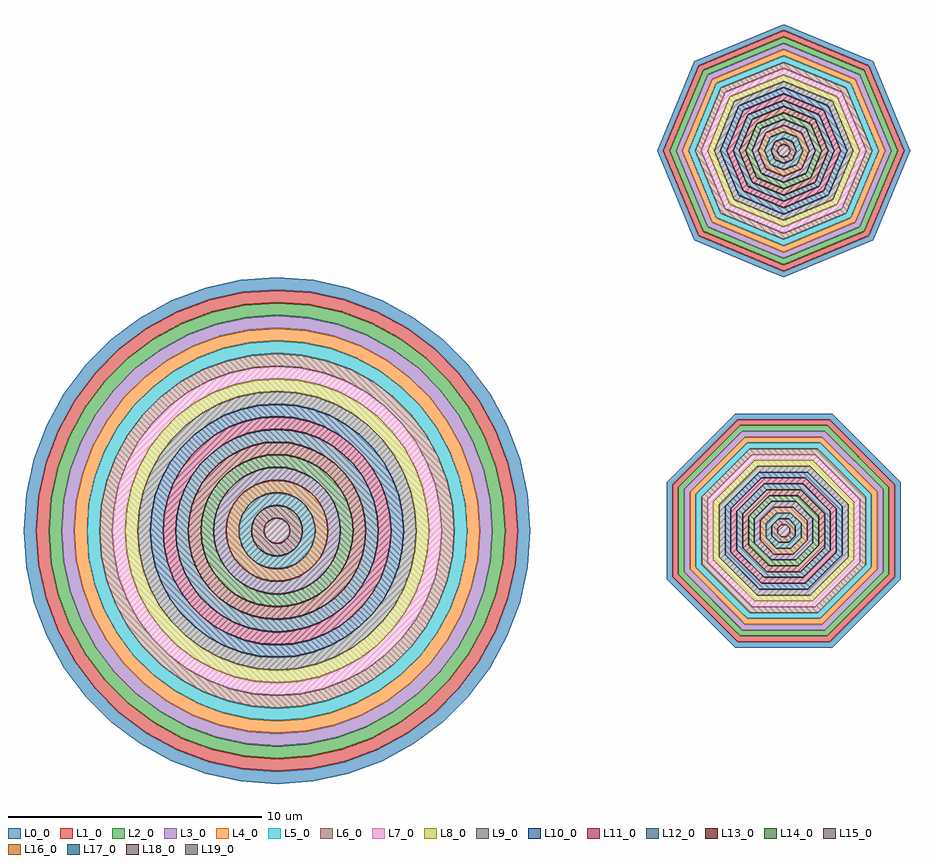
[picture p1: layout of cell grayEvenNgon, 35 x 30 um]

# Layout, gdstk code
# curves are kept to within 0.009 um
import gdstk
lib = gdstk.Library(unit=1e-6, precision=1e-09)
def P(c, l, *ps):  # polygons
    for p in ps: c.add(gdstk.Polygon(p, *l))
L0_0 = (0, 0)
L1_0 = (1, 0)
L2_0 = (2, 0)
L3_0 = (3, 0)
L4_0 = (4, 0)
L5_0 = (5, 0)
L6_0 = (6, 0)
L7_0 = (7, 0)
L8_0 = (8, 0)
L9_0 = (9, 0)
L10_0 = (10, 0)
L11_0 = (11, 0)
L12_0 = (12, 0)
L13_0 = (13, 0)
L14_0 = (14, 0)
L15_0 = (15, 0)
L16_0 = (16, 0)
L17_0 = (17, 0)
L18_0 = (18, 0)
L19_0 = (19, 0)

grayevenngon = lib.new_cell('grayEvenNgon')
P(grayevenngon, L0_0, [(0,-10),(-1.423,-9.898),(-2.817,-9.595),(-3.072,-9.5),(0,-9.5),(1.352,-9.403),(2.676,-9.115),(3.946,-8.642),(5.136,-7.992),(6.221,-7.18),(7.18,-6.221),(7.992,-5.136),(8.642,-3.946),(9.115,-2.676),(9.403,-1.352),(9.5,0),(9.403,1.352),(9.115,2.676),(8.642,3.946),(7.992,5.136),(7.18,6.221),(6.221,7.18),(5.136,7.992),(3.946,8.642),(2.676,9.115),(1.352,9.403),(0,9.5),(-1.352,9.403),(-2.676,9.115),(-3.946,8.642),(-5.136,7.992),(-6.221,7.18),(-7.18,6.221),(-7.992,5.136),(-8.642,3.946),(-9.115,2.676),(-9.403,1.352),(-9.5,0),(-9.403,-1.352),(-9.115,-2.676),(-8.642,-3.946),(-7.992,-5.136),(-7.18,-6.221),(-6.221,-7.18),(-5.136,-7.992),(-3.946,-8.642),(-2.676,-9.115),(-1.352,-9.403),(0,-9.5),(-3.072,-9.5),(-4.154,-9.096),(-5.406,-8.413),(-6.549,-7.557),(-7.557,-6.549),(-8.413,-5.406),(-9.096,-4.154),(-9.595,-2.817),(-9.898,-1.423),(-10,0),(-9.898,1.423),(-9.595,2.817),(-9.096,4.154),(-8.413,5.406),(-7.557,6.549),(-6.549,7.557),(-5.406,8.413),(-4.154,9.096),(-2.817,9.595),(-1.423,9.898),(0,10),(1.423,9.898),(2.817,9.595),(4.154,9.096),(5.406,8.413),(6.549,7.557),(7.557,6.549),(8.413,5.406),(9.096,4.154),(9.595,2.817),(9.898,1.423),(10,0),(9.898,-1.423),(9.595,-2.817),(9.096,-4.154),(8.413,-5.406),(7.557,-6.549),(6.549,-7.557),(5.406,-8.413),(4.154,-9.096),(2.817,-9.595),(1.423,-9.898)],
  [(20,10),(19.396,10.25),(20,10.25),(23.359,11.641),(24.75,15),(23.359,18.359),(20,19.75),(16.641,18.359),(15.25,15),(16.641,11.641),(20,10.25),(19.396,10.25),(16.464,11.464),(15,15),(16.464,18.536),(20,20),(23.536,18.536),(25,15),(23.536,11.464)],
  [(18.087,-4.619),(17.856,-4.388),(21.818,-4.388),(24.388,-1.818),(24.388,1.818),(21.818,4.388),(18.182,4.388),(15.612,1.818),(15.612,-1.818),(18.182,-4.388),(17.856,-4.388),(15.381,-1.913),(15.381,1.913),(18.087,4.619),(21.913,4.619),(24.619,1.913),(24.619,-1.913),(21.913,-4.619)])
P(grayevenngon, L1_0, [(0,-9.5),(-1.352,-9.403),(-2.676,-9.115),(-2.985,-9),(0,-9),(1.281,-8.908),(2.536,-8.635),(3.739,-8.187),(4.866,-7.571),(5.894,-6.802),(6.802,-5.894),(7.571,-4.866),(8.187,-3.739),(8.635,-2.536),(8.908,-1.281),(9,0),(8.908,1.281),(8.635,2.536),(8.187,3.739),(7.571,4.866),(6.802,5.894),(5.894,6.802),(4.866,7.571),(3.739,8.187),(2.536,8.635),(1.281,8.908),(0,9),(-1.281,8.908),(-2.536,8.635),(-3.739,8.187),(-4.866,7.571),(-5.894,6.802),(-6.802,5.894),(-7.571,4.866),(-8.187,3.739),(-8.635,2.536),(-8.908,1.281),(-9,0),(-8.908,-1.281),(-8.635,-2.536),(-8.187,-3.739),(-7.571,-4.866),(-6.802,-5.894),(-5.894,-6.802),(-4.866,-7.571),(-3.739,-8.187),(-2.536,-8.635),(-1.281,-8.908),(0,-9),(-2.985,-9),(-3.946,-8.642),(-5.136,-7.992),(-6.221,-7.18),(-7.18,-6.221),(-7.992,-5.136),(-8.642,-3.946),(-9.115,-2.676),(-9.403,-1.352),(-9.5,0),(-9.403,1.352),(-9.115,2.676),(-8.642,3.946),(-7.992,5.136),(-7.18,6.221),(-6.221,7.18),(-5.136,7.992),(-3.946,8.642),(-2.676,9.115),(-1.352,9.403),(0,9.5),(1.352,9.403),(2.676,9.115),(3.946,8.642),(5.136,7.992),(6.221,7.18),(7.18,6.221),(7.992,5.136),(8.642,3.946),(9.115,2.676),(9.403,1.352),(9.5,0),(9.403,-1.352),(9.115,-2.676),(8.642,-3.946),(7.992,-5.136),(7.18,-6.221),(6.221,-7.18),(5.136,-7.992),(3.946,-8.642),(2.676,-9.115),(1.352,-9.403)],
  [(20,10.25),(19.396,10.5),(20,10.5),(23.182,11.818),(24.5,15),(23.182,18.182),(20,19.5),(16.818,18.182),(15.5,15),(16.818,11.818),(20,10.5),(19.396,10.5),(16.641,11.641),(15.25,15),(16.641,18.359),(20,19.75),(23.359,18.359),(24.75,15),(23.359,11.641)],
  [(18.182,-4.388),(17.951,-4.157),(21.722,-4.157),(24.157,-1.722),(24.157,1.722),(21.722,4.157),(18.278,4.157),(15.843,1.722),(15.843,-1.722),(18.278,-4.157),(17.951,-4.157),(15.612,-1.818),(15.612,1.818),(18.182,4.388),(21.818,4.388),(24.388,1.818),(24.388,-1.818),(21.818,-4.388)])
P(grayevenngon, L2_0, [(0,-9),(-1.281,-8.908),(-2.536,-8.635),(-2.899,-8.5),(0,-8.5),(1.21,-8.413),(2.395,-8.156),(3.531,-7.732),(4.595,-7.151),(5.566,-6.424),(6.424,-5.566),(7.151,-4.595),(7.732,-3.531),(8.156,-2.395),(8.413,-1.21),(8.5,0),(8.413,1.21),(8.156,2.395),(7.732,3.531),(7.151,4.595),(6.424,5.566),(5.566,6.424),(4.595,7.151),(3.531,7.732),(2.395,8.156),(1.21,8.413),(0,8.5),(-1.21,8.413),(-2.395,8.156),(-3.531,7.732),(-4.595,7.151),(-5.566,6.424),(-6.424,5.566),(-7.151,4.595),(-7.732,3.531),(-8.156,2.395),(-8.413,1.21),(-8.5,0),(-8.413,-1.21),(-8.156,-2.395),(-7.732,-3.531),(-7.151,-4.595),(-6.424,-5.566),(-5.566,-6.424),(-4.595,-7.151),(-3.531,-7.732),(-2.395,-8.156),(-1.21,-8.413),(0,-8.5),(-2.899,-8.5),(-3.739,-8.187),(-4.866,-7.571),(-5.894,-6.802),(-6.802,-5.894),(-7.571,-4.866),(-8.187,-3.739),(-8.635,-2.536),(-8.908,-1.281),(-9,0),(-8.908,1.281),(-8.635,2.536),(-8.187,3.739),(-7.571,4.866),(-6.802,5.894),(-5.894,6.802),(-4.866,7.571),(-3.739,8.187),(-2.536,8.635),(-1.281,8.908),(0,9),(1.281,8.908),(2.536,8.635),(3.739,8.187),(4.866,7.571),(5.894,6.802),(6.802,5.894),(7.571,4.866),(8.187,3.739),(8.635,2.536),(8.908,1.281),(9,0),(8.908,-1.281),(8.635,-2.536),(8.187,-3.739),(7.571,-4.866),(6.802,-5.894),(5.894,-6.802),(4.866,-7.571),(3.739,-8.187),(2.536,-8.635),(1.281,-8.908)],
  [(20,10.5),(19.396,10.75),(20,10.75),(23.005,11.995),(24.25,15),(23.005,18.005),(20,19.25),(16.995,18.005),(15.75,15),(16.995,11.995),(20,10.75),(19.396,10.75),(16.818,11.818),(15.5,15),(16.818,18.182),(20,19.5),(23.182,18.182),(24.5,15),(23.182,11.818)],
  [(18.278,-4.157),(18.047,-3.926),(21.626,-3.926),(23.926,-1.626),(23.926,1.626),(21.626,3.926),(18.374,3.926),(16.074,1.626),(16.074,-1.626),(18.374,-3.926),(18.047,-3.926),(15.843,-1.722),(15.843,1.722),(18.278,4.157),(21.722,4.157),(24.157,1.722),(24.157,-1.722),(21.722,-4.157)])
P(grayevenngon, L3_0, [(0,-8.5),(-1.21,-8.413),(-2.395,-8.156),(-2.812,-8),(0,-8),(1.139,-7.919),(2.254,-7.676),(3.323,-7.277),(4.325,-6.73),(5.239,-6.046),(6.046,-5.239),(6.73,-4.325),(7.277,-3.323),(7.676,-2.254),(7.919,-1.139),(8,0),(7.919,1.139),(7.676,2.254),(7.277,3.323),(6.73,4.325),(6.046,5.239),(5.239,6.046),(4.325,6.73),(3.323,7.277),(2.254,7.676),(1.139,7.919),(0,8),(-1.139,7.919),(-2.254,7.676),(-3.323,7.277),(-4.325,6.73),(-5.239,6.046),(-6.046,5.239),(-6.73,4.325),(-7.277,3.323),(-7.676,2.254),(-7.919,1.139),(-8,0),(-7.919,-1.139),(-7.676,-2.254),(-7.277,-3.323),(-6.73,-4.325),(-6.046,-5.239),(-5.239,-6.046),(-4.325,-6.73),(-3.323,-7.277),(-2.254,-7.676),(-1.139,-7.919),(0,-8),(-2.812,-8),(-3.531,-7.732),(-4.595,-7.151),(-5.566,-6.424),(-6.424,-5.566),(-7.151,-4.595),(-7.732,-3.531),(-8.156,-2.395),(-8.413,-1.21),(-8.5,0),(-8.413,1.21),(-8.156,2.395),(-7.732,3.531),(-7.151,4.595),(-6.424,5.566),(-5.566,6.424),(-4.595,7.151),(-3.531,7.732),(-2.395,8.156),(-1.21,8.413),(0,8.5),(1.21,8.413),(2.395,8.156),(3.531,7.732),(4.595,7.151),(5.566,6.424),(6.424,5.566),(7.151,4.595),(7.732,3.531),(8.156,2.395),(8.413,1.21),(8.5,0),(8.413,-1.21),(8.156,-2.395),(7.732,-3.531),(7.151,-4.595),(6.424,-5.566),(5.566,-6.424),(4.595,-7.151),(3.531,-7.732),(2.395,-8.156),(1.21,-8.413)],
  [(20,10.75),(19.396,11),(20,11),(22.828,12.172),(24,15),(22.828,17.828),(20,19),(17.172,17.828),(16,15),(17.172,12.172),(20,11),(19.396,11),(16.995,11.995),(15.75,15),(16.995,18.005),(20,19.25),(23.005,18.005),(24.25,15),(23.005,11.995)],
  [(18.374,-3.926),(18.143,-3.696),(21.531,-3.696),(23.696,-1.531),(23.696,1.531),(21.531,3.696),(18.469,3.696),(16.304,1.531),(16.304,-1.531),(18.469,-3.696),(18.143,-3.696),(16.074,-1.626),(16.074,1.626),(18.374,3.926),(21.626,3.926),(23.926,1.626),(23.926,-1.626),(21.626,-3.926)])
P(grayevenngon, L4_0, [(0,-8),(-1.139,-7.919),(-2.254,-7.676),(-2.726,-7.5),(0,-7.5),(1.067,-7.424),(2.113,-7.196),(3.116,-6.822),(4.055,-6.309),(4.911,-5.668),(5.668,-4.911),(6.309,-4.055),(6.822,-3.116),(7.196,-2.113),(7.424,-1.067),(7.5,0),(7.424,1.067),(7.196,2.113),(6.822,3.116),(6.309,4.055),(5.668,4.911),(4.911,5.668),(4.055,6.309),(3.116,6.822),(2.113,7.196),(1.067,7.424),(0,7.5),(-1.067,7.424),(-2.113,7.196),(-3.116,6.822),(-4.055,6.309),(-4.911,5.668),(-5.668,4.911),(-6.309,4.055),(-6.822,3.116),(-7.196,2.113),(-7.424,1.067),(-7.5,0),(-7.424,-1.067),(-7.196,-2.113),(-6.822,-3.116),(-6.309,-4.055),(-5.668,-4.911),(-4.911,-5.668),(-4.055,-6.309),(-3.116,-6.822),(-2.113,-7.196),(-1.067,-7.424),(0,-7.5),(-2.726,-7.5),(-3.323,-7.277),(-4.325,-6.73),(-5.239,-6.046),(-6.046,-5.239),(-6.73,-4.325),(-7.277,-3.323),(-7.676,-2.254),(-7.919,-1.139),(-8,0),(-7.919,1.139),(-7.676,2.254),(-7.277,3.323),(-6.73,4.325),(-6.046,5.239),(-5.239,6.046),(-4.325,6.73),(-3.323,7.277),(-2.254,7.676),(-1.139,7.919),(0,8),(1.139,7.919),(2.254,7.676),(3.323,7.277),(4.325,6.73),(5.239,6.046),(6.046,5.239),(6.73,4.325),(7.277,3.323),(7.676,2.254),(7.919,1.139),(8,0),(7.919,-1.139),(7.676,-2.254),(7.277,-3.323),(6.73,-4.325),(6.046,-5.239),(5.239,-6.046),(4.325,-6.73),(3.323,-7.277),(2.254,-7.676),(1.139,-7.919)],
  [(20,11),(19.396,11.25),(20,11.25),(22.652,12.348),(23.75,15),(22.652,17.652),(20,18.75),(17.348,17.652),(16.25,15),(17.348,12.348),(20,11.25),(19.396,11.25),(17.172,12.172),(16,15),(17.172,17.828),(20,19),(22.828,17.828),(24,15),(22.828,12.172)],
  [(18.469,-3.696),(18.238,-3.465),(21.435,-3.465),(23.465,-1.435),(23.465,1.435),(21.435,3.465),(18.565,3.465),(16.535,1.435),(16.535,-1.435),(18.565,-3.465),(21.435,-3.465),(18.238,-3.465),(16.304,-1.531),(16.304,1.531),(18.469,3.696),(21.531,3.696),(23.696,1.531),(23.696,-1.531),(21.531,-3.696)])
P(grayevenngon, L5_0, [(0,-7.5),(-1.067,-7.424),(-2.113,-7.196),(-2.639,-7),(0,-7),(0.996,-6.929),(1.972,-6.716),(2.908,-6.367),(3.784,-5.889),(4.584,-5.29),(5.29,-4.584),(5.889,-3.784),(6.367,-2.908),(6.716,-1.972),(6.929,-0.996),(7,0),(6.929,0.996),(6.716,1.972),(6.367,2.908),(5.889,3.784),(5.29,4.584),(4.584,5.29),(3.784,5.889),(2.908,6.367),(1.972,6.716),(0.996,6.929),(0,7),(-0.996,6.929),(-1.972,6.716),(-2.908,6.367),(-3.784,5.889),(-4.584,5.29),(-5.29,4.584),(-5.889,3.784),(-6.367,2.908),(-6.716,1.972),(-6.929,0.996),(-7,0),(-6.929,-0.996),(-6.716,-1.972),(-6.367,-2.908),(-5.889,-3.784),(-5.29,-4.584),(-4.584,-5.29),(-3.784,-5.889),(-2.908,-6.367),(-1.972,-6.716),(-0.996,-6.929),(0,-7),(-2.639,-7),(-3.116,-6.822),(-4.055,-6.309),(-4.911,-5.668),(-5.668,-4.911),(-6.309,-4.055),(-6.822,-3.116),(-7.196,-2.113),(-7.424,-1.067),(-7.5,0),(-7.424,1.067),(-7.196,2.113),(-6.822,3.116),(-6.309,4.055),(-5.668,4.911),(-4.911,5.668),(-4.055,6.309),(-3.116,6.822),(-2.113,7.196),(-1.067,7.424),(0,7.5),(1.067,7.424),(2.113,7.196),(3.116,6.822),(4.055,6.309),(4.911,5.668),(5.668,4.911),(6.309,4.055),(6.822,3.116),(7.196,2.113),(7.424,1.067),(7.5,0),(7.424,-1.067),(7.196,-2.113),(6.822,-3.116),(6.309,-4.055),(5.668,-4.911),(4.911,-5.668),(4.055,-6.309),(3.116,-6.822),(2.113,-7.196),(1.067,-7.424)],
  [(20,11.25),(19.396,11.5),(20,11.5),(22.475,12.525),(23.5,15),(22.475,17.475),(20,18.5),(17.525,17.475),(16.5,15),(17.525,12.525),(20,11.5),(19.396,11.5),(17.348,12.348),(16.25,15),(17.348,17.652),(20,18.75),(22.652,17.652),(23.75,15),(22.652,12.348)],
  [(21.435,-3.465),(18.565,-3.465),(18.334,-3.234),(21.339,-3.234),(23.234,-1.339),(23.234,1.339),(21.339,3.234),(18.661,3.234),(16.766,1.339),(16.766,-1.339),(18.661,-3.234),(18.334,-3.234),(16.535,-1.435),(16.535,1.435),(18.565,3.465),(21.435,3.465),(23.465,1.435),(23.465,-1.435)])
P(grayevenngon, L6_0, [(0,-7),(-0.996,-6.929),(-1.972,-6.716),(-2.552,-6.5),(0,-6.5),(0.925,-6.434),(1.831,-6.237),(2.7,-5.913),(3.514,-5.468),(4.257,-4.912),(4.912,-4.257),(5.468,-3.514),(5.913,-2.7),(6.237,-1.831),(6.434,-0.925),(6.5,0),(6.434,0.925),(6.237,1.831),(5.913,2.7),(5.468,3.514),(4.912,4.257),(4.257,4.912),(3.514,5.468),(2.7,5.913),(1.831,6.237),(0.925,6.434),(0,6.5),(-0.925,6.434),(-1.831,6.237),(-2.7,5.913),(-3.514,5.468),(-4.257,4.912),(-4.912,4.257),(-5.468,3.514),(-5.913,2.7),(-6.237,1.831),(-6.434,0.925),(-6.5,0),(-6.434,-0.925),(-6.237,-1.831),(-5.913,-2.7),(-5.468,-3.514),(-4.912,-4.257),(-4.257,-4.912),(-3.514,-5.468),(-2.7,-5.913),(-1.831,-6.237),(-0.925,-6.434),(0,-6.5),(-2.552,-6.5),(-2.908,-6.367),(-3.784,-5.889),(-4.584,-5.29),(-5.29,-4.584),(-5.889,-3.784),(-6.367,-2.908),(-6.716,-1.972),(-6.929,-0.996),(-7,0),(-6.929,0.996),(-6.716,1.972),(-6.367,2.908),(-5.889,3.784),(-5.29,4.584),(-4.584,5.29),(-3.784,5.889),(-2.908,6.367),(-1.972,6.716),(-0.996,6.929),(0,7),(0.996,6.929),(1.972,6.716),(2.908,6.367),(3.784,5.889),(4.584,5.29),(5.29,4.584),(5.889,3.784),(6.367,2.908),(6.716,1.972),(6.929,0.996),(7,0),(6.929,-0.996),(6.716,-1.972),(6.367,-2.908),(5.889,-3.784),(5.29,-4.584),(4.584,-5.29),(3.784,-5.889),(2.908,-6.367),(1.972,-6.716),(0.996,-6.929)],
  [(20,11.5),(19.396,11.75),(20,11.75),(22.298,12.702),(23.25,15),(22.298,17.298),(20,18.25),(17.702,17.298),(16.75,15),(17.702,12.702),(20,11.75),(19.396,11.75),(17.525,12.525),(16.5,15),(17.525,17.475),(20,18.5),(22.475,17.475),(23.5,15),(22.475,12.525)],
  [(18.661,-3.234),(18.43,-3.003),(21.244,-3.003),(23.003,-1.244),(23.003,1.244),(21.244,3.003),(18.756,3.003),(16.997,1.244),(16.997,-1.244),(18.756,-3.003),(18.43,-3.003),(16.766,-1.339),(16.766,1.339),(18.661,3.234),(21.339,3.234),(23.234,1.339),(23.234,-1.339),(21.339,-3.234)])
P(grayevenngon, L7_0, [(0,-6.5),(-0.925,-6.434),(-1.831,-6.237),(-2.466,-6),(0,-6),(0.854,-5.939),(1.69,-5.757),(2.492,-5.458),(3.244,-5.048),(3.929,-4.534),(4.534,-3.929),(5.048,-3.244),(5.458,-2.492),(5.757,-1.69),(5.939,-0.854),(6,0),(5.939,0.854),(5.757,1.69),(5.458,2.492),(5.048,3.244),(4.534,3.929),(3.929,4.534),(3.244,5.048),(2.492,5.458),(1.69,5.757),(0.854,5.939),(0,6),(-0.854,5.939),(-1.69,5.757),(-2.492,5.458),(-3.244,5.048),(-3.929,4.534),(-4.534,3.929),(-5.048,3.244),(-5.458,2.492),(-5.757,1.69),(-5.939,0.854),(-6,0),(-5.939,-0.854),(-5.757,-1.69),(-5.458,-2.492),(-5.048,-3.244),(-4.534,-3.929),(-3.929,-4.534),(-3.244,-5.048),(-2.492,-5.458),(-1.69,-5.757),(-0.854,-5.939),(0,-6),(-2.466,-6),(-2.7,-5.913),(-3.514,-5.468),(-4.257,-4.912),(-4.912,-4.257),(-5.468,-3.514),(-5.913,-2.7),(-6.237,-1.831),(-6.434,-0.925),(-6.5,0),(-6.434,0.925),(-6.237,1.831),(-5.913,2.7),(-5.468,3.514),(-4.912,4.257),(-4.257,4.912),(-3.514,5.468),(-2.7,5.913),(-1.831,6.237),(-0.925,6.434),(0,6.5),(0.925,6.434),(1.831,6.237),(2.7,5.913),(3.514,5.468),(4.257,4.912),(4.912,4.257),(5.468,3.514),(5.913,2.7),(6.237,1.831),(6.434,0.925),(6.5,0),(6.434,-0.925),(6.237,-1.831),(5.913,-2.7),(5.468,-3.514),(4.912,-4.257),(4.257,-4.912),(3.514,-5.468),(2.7,-5.913),(1.831,-6.237),(0.925,-6.434)],
  [(20,11.75),(19.396,12),(20,12),(22.121,12.879),(23,15),(22.121,17.121),(20,18),(17.879,17.121),(17,15),(17.879,12.879),(20,12),(19.396,12),(17.702,12.702),(16.75,15),(17.702,17.298),(20,18.25),(22.298,17.298),(23.25,15),(22.298,12.702)],
  [(18.756,-3.003),(18.525,-2.772),(21.148,-2.772),(22.772,-1.148),(22.772,1.148),(21.148,2.772),(18.852,2.772),(17.228,1.148),(17.228,-1.148),(18.852,-2.772),(18.525,-2.772),(16.997,-1.244),(16.997,1.244),(18.756,3.003),(21.244,3.003),(23.003,1.244),(23.003,-1.244),(21.244,-3.003)])
P(grayevenngon, L8_0, [(0,-6),(-0.854,-5.939),(-1.69,-5.757),(-2.379,-5.5),(0,-5.5),(0.783,-5.444),(1.55,-5.277),(2.285,-5.003),(2.974,-4.627),(3.602,-4.157),(4.157,-3.602),(4.627,-2.974),(5.003,-2.285),(5.277,-1.55),(5.444,-0.783),(5.5,0),(5.444,0.783),(5.277,1.55),(5.003,2.285),(4.627,2.974),(4.157,3.602),(3.602,4.157),(2.974,4.627),(2.285,5.003),(1.55,5.277),(0.783,5.444),(0,5.5),(-0.783,5.444),(-1.55,5.277),(-2.285,5.003),(-2.974,4.627),(-3.602,4.157),(-4.157,3.602),(-4.627,2.974),(-5.003,2.285),(-5.277,1.55),(-5.444,0.783),(-5.5,0),(-5.444,-0.783),(-5.277,-1.55),(-5.003,-2.285),(-4.627,-2.974),(-4.157,-3.602),(-3.602,-4.157),(-2.974,-4.627),(-2.285,-5.003),(-1.55,-5.277),(-0.783,-5.444),(0,-5.5),(-2.379,-5.5),(-2.492,-5.458),(-3.244,-5.048),(-3.929,-4.534),(-4.534,-3.929),(-5.048,-3.244),(-5.458,-2.492),(-5.757,-1.69),(-5.939,-0.854),(-6,0),(-5.939,0.854),(-5.757,1.69),(-5.458,2.492),(-5.048,3.244),(-4.534,3.929),(-3.929,4.534),(-3.244,5.048),(-2.492,5.458),(-1.69,5.757),(-0.854,5.939),(0,6),(0.854,5.939),(1.69,5.757),(2.492,5.458),(3.244,5.048),(3.929,4.534),(4.534,3.929),(5.048,3.244),(5.458,2.492),(5.757,1.69),(5.939,0.854),(6,0),(5.939,-0.854),(5.757,-1.69),(5.458,-2.492),(5.048,-3.244),(4.534,-3.929),(3.929,-4.534),(3.244,-5.048),(2.492,-5.458),(1.69,-5.757),(0.854,-5.939)],
  [(20,12),(19.396,12.25),(20,12.25),(21.945,13.055),(22.75,15),(21.945,16.945),(20,17.75),(18.055,16.945),(17.25,15),(18.055,13.055),(20,12.25),(19.396,12.25),(17.879,12.879),(17,15),(17.879,17.121),(20,18),(22.121,17.121),(23,15),(22.121,12.879)],
  [(18.852,-2.772),(18.621,-2.541),(21.052,-2.541),(22.541,-1.052),(22.541,1.052),(21.052,2.541),(18.948,2.541),(17.459,1.052),(17.459,-1.052),(18.948,-2.541),(18.621,-2.541),(17.228,-1.148),(17.228,1.148),(18.852,2.772),(21.148,2.772),(22.772,1.148),(22.772,-1.148),(21.148,-2.772)])
P(grayevenngon, L9_0, [(0,-5.5),(-0.783,-5.444),(-1.55,-5.277),(-2.29,-5),(0,-5),(0.712,-4.949),(1.409,-4.797),(2.077,-4.548),(2.703,-4.206),(3.274,-3.779),(3.779,-3.274),(4.206,-2.703),(4.548,-2.077),(4.797,-1.409),(4.949,-0.712),(5,0),(4.949,0.712),(4.797,1.409),(4.548,2.077),(4.206,2.703),(3.779,3.274),(3.274,3.779),(2.703,4.206),(2.077,4.548),(1.409,4.797),(0.712,4.949),(0,5),(-0.712,4.949),(-1.409,4.797),(-2.077,4.548),(-2.703,4.206),(-3.274,3.779),(-3.779,3.274),(-4.206,2.703),(-4.548,2.077),(-4.797,1.409),(-4.949,0.712),(-5,0),(-4.949,-0.712),(-4.797,-1.409),(-4.548,-2.077),(-4.206,-2.703),(-3.779,-3.274),(-3.274,-3.779),(-2.703,-4.206),(-2.077,-4.548),(-1.409,-4.797),(-0.712,-4.949),(0,-5),(-2.29,-5),(-2.974,-4.627),(-3.602,-4.157),(-4.157,-3.602),(-4.627,-2.974),(-5.003,-2.285),(-5.277,-1.55),(-5.444,-0.783),(-5.5,0),(-5.444,0.783),(-5.277,1.55),(-5.003,2.285),(-4.627,2.974),(-4.157,3.602),(-3.602,4.157),(-2.974,4.627),(-2.285,5.003),(-1.55,5.277),(-0.783,5.444),(0,5.5),(0.783,5.444),(1.55,5.277),(2.285,5.003),(2.974,4.627),(3.602,4.157),(4.157,3.602),(4.627,2.974),(5.003,2.285),(5.277,1.55),(5.444,0.783),(5.5,0),(5.444,-0.783),(5.277,-1.55),(5.003,-2.285),(4.627,-2.974),(4.157,-3.602),(3.602,-4.157),(2.974,-4.627),(2.285,-5.003),(1.55,-5.277),(0.783,-5.444)],
  [(20,12.25),(19.396,12.5),(20,12.5),(21.768,13.232),(22.5,15),(21.768,16.768),(20,17.5),(18.232,16.768),(17.5,15),(18.232,13.232),(20,12.5),(19.396,12.5),(18.055,13.055),(17.25,15),(18.055,16.945),(20,17.75),(21.945,16.945),(22.75,15),(21.945,13.055)],
  [(18.948,-2.541),(18.717,-2.31),(20.957,-2.31),(22.31,-0.957),(22.31,0.957),(20.957,2.31),(19.043,2.31),(17.69,0.957),(17.69,-0.957),(19.043,-2.31),(18.717,-2.31),(17.459,-1.052),(17.459,1.052),(18.948,2.541),(21.052,2.541),(22.541,1.052),(22.541,-1.052),(21.052,-2.541)])
P(grayevenngon, L10_0, [(0,-5),(-0.712,-4.949),(-1.409,-4.797),(-2.077,-4.548),(-2.165,-4.5),(0,-4.5),(0.64,-4.454),(1.268,-4.318),(1.869,-4.093),(2.433,-3.786),(2.947,-3.401),(3.401,-2.947),(3.786,-2.433),(4.093,-1.869),(4.318,-1.268),(4.454,-0.64),(4.5,0),(4.454,0.64),(4.318,1.268),(4.093,1.869),(3.786,2.433),(3.401,2.947),(2.947,3.401),(2.433,3.786),(1.869,4.093),(1.268,4.318),(0.64,4.454),(0,4.5),(-0.64,4.454),(-1.268,4.318),(-1.869,4.093),(-2.433,3.786),(-2.947,3.401),(-3.401,2.947),(-3.786,2.433),(-4.093,1.869),(-4.318,1.268),(-4.454,0.64),(-4.5,0),(-4.454,-0.64),(-4.318,-1.268),(-4.093,-1.869),(-3.786,-2.433),(-3.401,-2.947),(-2.947,-3.401),(-2.433,-3.786),(-1.869,-4.093),(-1.268,-4.318),(-0.64,-4.454),(0,-4.5),(-2.165,-4.5),(-2.703,-4.206),(-3.274,-3.779),(-3.779,-3.274),(-4.206,-2.703),(-4.548,-2.077),(-4.797,-1.409),(-4.949,-0.712),(-5,0),(-4.949,0.712),(-4.797,1.409),(-4.548,2.077),(-4.206,2.703),(-3.779,3.274),(-3.274,3.779),(-2.703,4.206),(-2.077,4.548),(-1.409,4.797),(-0.712,4.949),(0,5),(0.712,4.949),(1.409,4.797),(2.077,4.548),(2.703,4.206),(3.274,3.779),(3.779,3.274),(4.206,2.703),(4.548,2.077),(4.797,1.409),(4.949,0.712),(5,0),(4.949,-0.712),(4.797,-1.409),(4.548,-2.077),(4.206,-2.703),(3.779,-3.274),(3.274,-3.779),(2.703,-4.206),(2.077,-4.548),(1.409,-4.797),(0.712,-4.949)],
  [(20,12.5),(19.396,12.75),(20,12.75),(21.591,13.409),(22.25,15),(21.591,16.591),(20,17.25),(18.409,16.591),(17.75,15),(18.409,13.409),(20,12.75),(19.396,12.75),(18.232,13.232),(17.5,15),(18.232,16.768),(20,17.5),(21.768,16.768),(22.5,15),(21.768,13.232)],
  [(19.043,-2.31),(18.812,-2.079),(20.861,-2.079),(22.079,-0.861),(22.079,0.861),(20.861,2.079),(19.139,2.079),(17.921,0.861),(17.921,-0.861),(19.139,-2.079),(18.812,-2.079),(17.69,-0.957),(17.69,0.957),(19.043,2.31),(20.957,2.31),(22.31,0.957),(22.31,-0.957),(20.957,-2.31)])
P(grayevenngon, L11_0, [(0,-4.5),(-0.64,-4.454),(-1.268,-4.318),(-1.869,-4.093),(-2.04,-4),(0,-4),(0.569,-3.959),(1.127,-3.838),(1.662,-3.639),(2.163,-3.365),(2.619,-3.023),(3.023,-2.619),(3.365,-2.163),(3.639,-1.662),(3.838,-1.127),(3.959,-0.569),(4,0),(3.959,0.569),(3.838,1.127),(3.639,1.662),(3.365,2.163),(3.023,2.619),(2.619,3.023),(2.163,3.365),(1.662,3.639),(1.127,3.838),(0.569,3.959),(0,4),(-0.569,3.959),(-1.127,3.838),(-1.662,3.639),(-2.163,3.365),(-2.619,3.023),(-3.023,2.619),(-3.365,2.163),(-3.639,1.662),(-3.838,1.127),(-3.959,0.569),(-4,0),(-3.959,-0.569),(-3.838,-1.127),(-3.639,-1.662),(-3.365,-2.163),(-3.023,-2.619),(-2.619,-3.023),(-2.163,-3.365),(-1.662,-3.639),(-1.127,-3.838),(-0.569,-3.959),(0,-4),(-2.04,-4),(-2.433,-3.786),(-2.947,-3.401),(-3.401,-2.947),(-3.786,-2.433),(-4.093,-1.869),(-4.318,-1.268),(-4.454,-0.64),(-4.5,0),(-4.454,0.64),(-4.318,1.268),(-4.093,1.869),(-3.786,2.433),(-3.401,2.947),(-2.947,3.401),(-2.433,3.786),(-1.869,4.093),(-1.268,4.318),(-0.64,4.454),(0,4.5),(0.64,4.454),(1.268,4.318),(1.869,4.093),(2.433,3.786),(2.947,3.401),(3.401,2.947),(3.786,2.433),(4.093,1.869),(4.318,1.268),(4.454,0.64),(4.5,0),(4.454,-0.64),(4.318,-1.268),(4.093,-1.869),(3.786,-2.433),(3.401,-2.947),(2.947,-3.401),(2.433,-3.786),(1.869,-4.093),(1.268,-4.318),(0.64,-4.454)],
  [(20,12.75),(19.396,13),(20,13),(21.414,13.586),(22,15),(21.414,16.414),(20,17),(18.586,16.414),(18,15),(18.586,13.586),(20,13),(19.396,13),(18.409,13.409),(17.75,15),(18.409,16.591),(20,17.25),(21.591,16.591),(22.25,15),(21.591,13.409)],
  [(19.139,-2.079),(18.908,-1.848),(20.765,-1.848),(21.848,-0.765),(21.848,0.765),(20.765,1.848),(19.235,1.848),(18.152,0.765),(18.152,-0.765),(19.235,-1.848),(18.908,-1.848),(17.921,-0.861),(17.921,0.861),(19.139,2.079),(20.861,2.079),(22.079,0.861),(22.079,-0.861),(20.861,-2.079)])
P(grayevenngon, L12_0, [(0,-4),(-0.569,-3.959),(-1.127,-3.838),(-1.662,-3.639),(-1.915,-3.5),(0,-3.5),(0.498,-3.464),(0.986,-3.358),(1.454,-3.184),(1.892,-2.944),(2.292,-2.645),(2.645,-2.292),(2.944,-1.892),(3.184,-1.454),(3.358,-0.986),(3.464,-0.498),(3.5,0),(3.464,0.498),(3.358,0.986),(3.184,1.454),(2.944,1.892),(2.645,2.292),(2.292,2.645),(1.892,2.944),(1.454,3.184),(0.986,3.358),(0.498,3.464),(0,3.5),(-0.498,3.464),(-0.986,3.358),(-1.454,3.184),(-1.892,2.944),(-2.292,2.645),(-2.645,2.292),(-2.944,1.892),(-3.184,1.454),(-3.358,0.986),(-3.464,0.498),(-3.5,0),(-3.464,-0.498),(-3.358,-0.986),(-3.184,-1.454),(-2.944,-1.892),(-2.645,-2.292),(-2.292,-2.645),(-1.892,-2.944),(-1.454,-3.184),(-0.986,-3.358),(-0.498,-3.464),(0,-3.5),(-1.915,-3.5),(-2.163,-3.365),(-2.619,-3.023),(-3.023,-2.619),(-3.365,-2.163),(-3.639,-1.662),(-3.838,-1.127),(-3.959,-0.569),(-4,0),(-3.959,0.569),(-3.838,1.127),(-3.639,1.662),(-3.365,2.163),(-3.023,2.619),(-2.619,3.023),(-2.163,3.365),(-1.662,3.639),(-1.127,3.838),(-0.569,3.959),(0,4),(0.569,3.959),(1.127,3.838),(1.662,3.639),(2.163,3.365),(2.619,3.023),(3.023,2.619),(3.365,2.163),(3.639,1.662),(3.838,1.127),(3.959,0.569),(4,0),(3.959,-0.569),(3.838,-1.127),(3.639,-1.662),(3.365,-2.163),(3.023,-2.619),(2.619,-3.023),(2.163,-3.365),(1.662,-3.639),(1.127,-3.838),(0.569,-3.959)],
  [(20,13),(19.396,13.25),(20,13.25),(21.237,13.763),(21.75,15),(21.237,16.237),(20,16.75),(18.763,16.237),(18.25,15),(18.763,13.763),(20,13.25),(19.396,13.25),(18.586,13.586),(18,15),(18.586,16.414),(20,17),(21.414,16.414),(22,15),(21.414,13.586)],
  [(19.235,-1.848),(19.004,-1.617),(20.67,-1.617),(21.617,-0.67),(21.617,0.67),(20.67,1.617),(19.33,1.617),(18.383,0.67),(18.383,-0.67),(19.33,-1.617),(19.004,-1.617),(18.152,-0.765),(18.152,0.765),(19.235,1.848),(20.765,1.848),(21.848,0.765),(21.848,-0.765),(20.765,-1.848)])
P(grayevenngon, L13_0, [(0,-3.5),(-0.498,-3.464),(-0.986,-3.358),(-1.454,-3.184),(-1.79,-3),(0,-3),(0.427,-2.969),(0.845,-2.878),(1.246,-2.729),(1.622,-2.524),(1.965,-2.267),(2.267,-1.965),(2.524,-1.622),(2.729,-1.246),(2.878,-0.845),(2.969,-0.427),(3,0),(2.969,0.427),(2.878,0.845),(2.729,1.246),(2.524,1.622),(2.267,1.965),(1.965,2.267),(1.622,2.524),(1.246,2.729),(0.845,2.878),(0.427,2.969),(0,3),(-0.427,2.969),(-0.845,2.878),(-1.246,2.729),(-1.622,2.524),(-1.965,2.267),(-2.267,1.965),(-2.524,1.622),(-2.729,1.246),(-2.878,0.845),(-2.969,0.427),(-3,0),(-2.969,-0.427),(-2.878,-0.845),(-2.729,-1.246),(-2.524,-1.622),(-2.267,-1.965),(-1.965,-2.267),(-1.622,-2.524),(-1.246,-2.729),(-0.845,-2.878),(-0.427,-2.969),(0,-3),(-1.79,-3),(-1.892,-2.944),(-2.292,-2.645),(-2.645,-2.292),(-2.944,-1.892),(-3.184,-1.454),(-3.358,-0.986),(-3.464,-0.498),(-3.5,0),(-3.464,0.498),(-3.358,0.986),(-3.184,1.454),(-2.944,1.892),(-2.645,2.292),(-2.292,2.645),(-1.892,2.944),(-1.454,3.184),(-0.986,3.358),(-0.498,3.464),(0,3.5),(0.498,3.464),(0.986,3.358),(1.454,3.184),(1.892,2.944),(2.292,2.645),(2.645,2.292),(2.944,1.892),(3.184,1.454),(3.358,0.986),(3.464,0.498),(3.5,0),(3.464,-0.498),(3.358,-0.986),(3.184,-1.454),(2.944,-1.892),(2.645,-2.292),(2.292,-2.645),(1.892,-2.944),(1.454,-3.184),(0.986,-3.358),(0.498,-3.464)],
  [(20,13.25),(19.396,13.5),(20,13.5),(21.061,13.939),(21.5,15),(21.061,16.061),(20,16.5),(18.939,16.061),(18.5,15),(18.939,13.939),(20,13.5),(19.396,13.5),(18.763,13.763),(18.25,15),(18.763,16.237),(20,16.75),(21.237,16.237),(21.75,15),(21.237,13.763)],
  [(19.33,-1.617),(19.099,-1.386),(20.574,-1.386),(21.386,-0.574),(21.386,0.574),(20.574,1.386),(19.426,1.386),(18.614,0.574),(18.614,-0.574),(19.426,-1.386),(19.099,-1.386),(18.383,-0.67),(18.383,0.67),(19.33,1.617),(20.67,1.617),(21.617,0.67),(21.617,-0.67),(20.67,-1.617)])
P(grayevenngon, L14_0, [(0,-3),(-0.427,-2.969),(-0.845,-2.878),(-1.246,-2.729),(-1.654,-2.5),(0,-2.5),(0.356,-2.475),(0.704,-2.399),(1.039,-2.274),(1.352,-2.103),(1.637,-1.889),(1.889,-1.637),(2.103,-1.352),(2.274,-1.039),(2.399,-0.704),(2.475,-0.356),(2.5,0),(2.475,0.356),(2.399,0.704),(2.274,1.039),(2.103,1.352),(1.889,1.637),(1.637,1.889),(1.352,2.103),(1.039,2.274),(0.704,2.399),(0.356,2.475),(0,2.5),(-0.356,2.475),(-0.704,2.399),(-1.039,2.274),(-1.352,2.103),(-1.637,1.889),(-1.889,1.637),(-2.103,1.352),(-2.274,1.039),(-2.399,0.704),(-2.475,0.356),(-2.5,0),(-2.475,-0.356),(-2.399,-0.704),(-2.274,-1.039),(-2.103,-1.352),(-1.889,-1.637),(-1.637,-1.889),(-1.352,-2.103),(-1.039,-2.274),(-0.704,-2.399),(-0.356,-2.475),(0,-2.5),(-1.654,-2.5),(-1.965,-2.267),(-2.267,-1.965),(-2.524,-1.622),(-2.729,-1.246),(-2.878,-0.845),(-2.969,-0.427),(-3,0),(-2.969,0.427),(-2.878,0.845),(-2.729,1.246),(-2.524,1.622),(-2.267,1.965),(-1.965,2.267),(-1.622,2.524),(-1.246,2.729),(-0.845,2.878),(-0.427,2.969),(0,3),(0.427,2.969),(0.845,2.878),(1.246,2.729),(1.622,2.524),(1.965,2.267),(2.267,1.965),(2.524,1.622),(2.729,1.246),(2.878,0.845),(2.969,0.427),(3,0),(2.969,-0.427),(2.878,-0.845),(2.729,-1.246),(2.524,-1.622),(2.267,-1.965),(1.965,-2.267),(1.622,-2.524),(1.246,-2.729),(0.845,-2.878),(0.427,-2.969)],
  [(20,13.5),(19.396,13.75),(20,13.75),(20.884,14.116),(21.25,15),(20.884,15.884),(20,16.25),(19.116,15.884),(18.75,15),(19.116,14.116),(20,13.75),(19.396,13.75),(18.939,13.939),(18.5,15),(18.939,16.061),(20,16.5),(21.061,16.061),(21.5,15),(21.061,13.939)],
  [(19.426,-1.386),(19.195,-1.155),(20.478,-1.155),(21.155,-0.478),(21.155,0.478),(20.478,1.155),(19.522,1.155),(18.845,0.478),(18.845,-0.478),(19.522,-1.155),(19.195,-1.155),(18.614,-0.574),(18.614,0.574),(19.426,1.386),(20.574,1.386),(21.386,0.574),(21.386,-0.574),(20.574,-1.386)])
P(grayevenngon, L15_0, [(0,-2.5),(-0.356,-2.475),(-0.704,-2.399),(-1.039,-2.274),(-1.352,-2.103),(-1.489,-2),(0,-2),(0.285,-1.98),(0.563,-1.919),(0.831,-1.819),(1.081,-1.683),(1.31,-1.511),(1.511,-1.31),(1.683,-1.081),(1.819,-0.831),(1.919,-0.563),(1.98,-0.285),(2,0),(1.98,0.285),(1.919,0.563),(1.819,0.831),(1.683,1.081),(1.511,1.31),(1.31,1.511),(1.081,1.683),(0.831,1.819),(0.563,1.919),(0.285,1.98),(0,2),(-0.285,1.98),(-0.563,1.919),(-0.831,1.819),(-1.081,1.683),(-1.31,1.511),(-1.511,1.31),(-1.683,1.081),(-1.819,0.831),(-1.919,0.563),(-1.98,0.285),(-2,0),(-1.98,-0.285),(-1.919,-0.563),(-1.819,-0.831),(-1.683,-1.081),(-1.511,-1.31),(-1.31,-1.511),(-1.081,-1.683),(-0.831,-1.819),(-0.563,-1.919),(-0.285,-1.98),(0,-2),(-1.489,-2),(-1.637,-1.889),(-1.889,-1.637),(-2.103,-1.352),(-2.274,-1.039),(-2.399,-0.704),(-2.475,-0.356),(-2.5,0),(-2.475,0.356),(-2.399,0.704),(-2.274,1.039),(-2.103,1.352),(-1.889,1.637),(-1.637,1.889),(-1.352,2.103),(-1.039,2.274),(-0.704,2.399),(-0.356,2.475),(0,2.5),(0.356,2.475),(0.704,2.399),(1.039,2.274),(1.352,2.103),(1.637,1.889),(1.889,1.637),(2.103,1.352),(2.274,1.039),(2.399,0.704),(2.475,0.356),(2.5,0),(2.475,-0.356),(2.399,-0.704),(2.274,-1.039),(2.103,-1.352),(1.889,-1.637),(1.637,-1.889),(1.352,-2.103),(1.039,-2.274),(0.704,-2.399),(0.356,-2.475)],
  [(20,13.75),(19.396,14),(20,14),(20.707,14.293),(21,15),(20.707,15.707),(20,16),(19.293,15.707),(19,15),(19.293,14.293),(20,14),(19.396,14),(19.116,14.116),(18.75,15),(19.116,15.884),(20,16.25),(20.884,15.884),(21.25,15),(20.884,14.116)],
  [(19.522,-1.155),(19.291,-0.924),(20.383,-0.924),(20.924,-0.383),(20.924,0.383),(20.383,0.924),(19.617,0.924),(19.076,0.383),(19.076,-0.383),(19.617,-0.924),(20.383,-0.924),(19.291,-0.924),(18.845,-0.478),(18.845,0.478),(19.522,1.155),(20.478,1.155),(21.155,0.478),(21.155,-0.478),(20.478,-1.155)])
P(grayevenngon, L16_0, [(0,-2),(-0.285,-1.98),(-0.563,-1.919),(-0.831,-1.819),(-1.081,-1.683),(-1.321,-1.5),(0,-1.5),(0.213,-1.485),(0.423,-1.439),(0.623,-1.364),(0.811,-1.262),(0.982,-1.134),(1.134,-0.982),(1.262,-0.811),(1.364,-0.623),(1.439,-0.423),(1.485,-0.213),(1.5,0),(1.485,0.213),(1.439,0.423),(1.364,0.623),(1.262,0.811),(1.134,0.982),(0.982,1.134),(0.811,1.262),(0.623,1.364),(0.423,1.439),(0.213,1.485),(0,1.5),(-0.213,1.485),(-0.423,1.439),(-0.623,1.364),(-0.811,1.262),(-0.982,1.134),(-1.134,0.982),(-1.262,0.811),(-1.364,0.623),(-1.439,0.423),(-1.485,0.213),(-1.5,0),(-1.485,-0.213),(-1.439,-0.423),(-1.364,-0.623),(-1.262,-0.811),(-1.134,-0.982),(-0.982,-1.134),(-0.811,-1.262),(-0.623,-1.364),(-0.423,-1.439),(-0.213,-1.485),(0,-1.5),(-1.321,-1.5),(-1.511,-1.31),(-1.683,-1.081),(-1.819,-0.831),(-1.919,-0.563),(-1.98,-0.285),(-2,0),(-1.98,0.285),(-1.919,0.563),(-1.819,0.831),(-1.683,1.081),(-1.511,1.31),(-1.31,1.511),(-1.081,1.683),(-0.831,1.819),(-0.563,1.919),(-0.285,1.98),(0,2),(0.285,1.98),(0.563,1.919),(0.831,1.819),(1.081,1.683),(1.31,1.511),(1.511,1.31),(1.683,1.081),(1.819,0.831),(1.919,0.563),(1.98,0.285),(2,0),(1.98,-0.285),(1.919,-0.563),(1.819,-0.831),(1.683,-1.081),(1.511,-1.31),(1.31,-1.511),(1.081,-1.683),(0.831,-1.819),(0.563,-1.919),(0.285,-1.98)],
  [(20,14),(19.396,14.25),(20,14.25),(20.53,14.47),(20.75,15),(20.53,15.53),(20,15.75),(19.47,15.53),(19.25,15),(19.47,14.47),(20,14.25),(19.396,14.25),(19.293,14.293),(19,15),(19.293,15.707),(20,16),(20.707,15.707),(21,15),(20.707,14.293)],
  [(20.383,-0.924),(19.617,-0.924),(19.386,-0.693),(20.287,-0.693),(20.693,-0.287),(20.693,0.287),(20.287,0.693),(19.713,0.693),(19.307,0.287),(19.307,-0.287),(19.713,-0.693),(19.386,-0.693),(19.076,-0.383),(19.076,0.383),(19.617,0.924),(20.383,0.924),(20.924,0.383),(20.924,-0.383)])
P(grayevenngon, L17_0, [(0,-1.5),(-0.213,-1.485),(-0.423,-1.439),(-0.623,-1.364),(-0.811,-1.262),(-0.982,-1.134),(-1.116,-1),(0.142,-0.99),(0.282,-0.959),(0.415,-0.91),(0.541,-0.841),(0.655,-0.756),(0.756,-0.655),(0.841,-0.541),(0.91,-0.415),(0.959,-0.282),(0.99,-0.142),(1,0),(0.99,0.142),(0.959,0.282),(0.91,0.415),(0.841,0.541),(0.756,0.655),(0.655,0.756),(0.541,0.841),(0.415,0.91),(0.282,0.959),(0.142,0.99),(0,1),(-0.142,0.99),(-0.282,0.959),(-0.415,0.91),(-0.541,0.841),(-0.655,0.756),(-0.756,0.655),(-0.841,0.541),(-0.91,0.415),(-0.959,0.282),(-0.99,0.142),(-1,0),(-0.99,-0.142),(-0.959,-0.282),(-0.91,-0.415),(-0.841,-0.541),(-0.756,-0.655),(-0.655,-0.756),(-0.541,-0.841),(-0.415,-0.91),(-0.282,-0.959),(-0.142,-0.99),(0,-1),(-1.116,-1),(-1.262,-0.811),(-1.364,-0.623),(-1.439,-0.423),(-1.485,-0.213),(-1.5,0),(-1.485,0.213),(-1.439,0.423),(-1.364,0.623),(-1.262,0.811),(-1.134,0.982),(-0.982,1.134),(-0.811,1.262),(-0.623,1.364),(-0.423,1.439),(-0.213,1.485),(0,1.5),(0.213,1.485),(0.423,1.439),(0.623,1.364),(0.811,1.262),(0.982,1.134),(1.134,0.982),(1.262,0.811),(1.364,0.623),(1.439,0.423),(1.485,0.213),(1.5,0),(1.485,-0.213),(1.439,-0.423),(1.364,-0.623),(1.262,-0.811),(1.134,-0.982),(0.982,-1.134),(0.811,-1.262),(0.623,-1.364),(0.423,-1.439),(0.213,-1.485)],
  [(20,14.25),(19.47,14.47),(19.457,14.5),(20,14.5),(20.354,14.646),(20.5,15),(20.354,15.354),(20,15.5),(19.646,15.354),(19.5,15),(19.646,14.646),(20,14.5),(19.457,14.5),(19.25,15),(19.47,15.53),(20,15.75),(20.53,15.53),(20.75,15),(20.53,14.47)],
  [(19.713,-0.693),(19.482,-0.462),(20.191,-0.462),(20.462,-0.191),(20.462,0.191),(20.191,0.462),(19.809,0.462),(19.538,0.191),(19.538,-0.191),(19.809,-0.462),(19.482,-0.462),(19.307,-0.287),(19.307,0.287),(19.713,0.693),(20.287,0.693),(20.693,0.287),(20.693,-0.287),(20.287,-0.693)])
P(grayevenngon, L18_0, [(0,-1),(-0.142,-0.99),(-0.282,-0.959),(-0.415,-0.91),(-0.541,-0.841),(-0.655,-0.756),(-0.756,-0.655),(-0.863,-0.5),(0,-0.5),(0.141,-0.48),(0.27,-0.421),(0.327,-0.378),(0.421,-0.27),(0.48,-0.141),(0.495,-0.071),(0.495,0.071),(0.48,0.141),(0.455,0.208),(0.378,0.327),(0.27,0.421),(0.208,0.455),(0.071,0.495),(-0.071,0.495),(-0.141,0.48),(-0.27,0.421),(-0.378,0.327),(-0.455,0.208),(-0.495,0.071),(-0.495,-0.071),(-0.48,-0.141),(-0.421,-0.27),(-0.327,-0.378),(-0.208,-0.455),(-0.141,-0.48),(0,-0.5),(-0.863,-0.5),(-0.959,-0.282),(-0.99,-0.142),(-1,0),(-0.99,0.142),(-0.959,0.282),(-0.91,0.415),(-0.841,0.541),(-0.756,0.655),(-0.655,0.756),(-0.541,0.841),(-0.415,0.91),(-0.282,0.959),(-0.142,0.99),(0,1),(0.142,0.99),(0.282,0.959),(0.415,0.91),(0.541,0.841),(0.655,0.756),(0.756,0.655),(0.841,0.541),(0.91,0.415),(0.959,0.282),(0.99,0.142),(1,0),(0.99,-0.142),(0.959,-0.282),(0.91,-0.415),(0.841,-0.541),(0.756,-0.655),(0.655,-0.756),(0.541,-0.841),(0.415,-0.91),(0.282,-0.959),(0.142,-0.99)],
  [(20,14.5),(19.646,14.646),(19.604,14.75),(20,14.75),(20.177,14.823),(20.25,15),(20.177,15.177),(20,15.25),(19.823,15.177),(19.75,15),(19.823,14.823),(20,14.75),(19.604,14.75),(19.5,15),(19.646,15.354),(20,15.5),(20.354,15.354),(20.5,15),(20.354,14.646)],
  [(19.809,-0.462),(19.578,-0.231),(20.096,-0.231),(20.231,-0.096),(20.231,0.096),(20.096,0.231),(19.904,0.231),(19.769,0.096),(19.769,-0.096),(19.904,-0.231),(19.578,-0.231),(19.538,-0.191),(19.538,0.191),(19.809,0.462),(20.191,0.462),(20.462,0.191),(20.462,-0.191),(20.191,-0.462)])
P(grayevenngon, L19_0, [(0,-0.5),(-0.141,-0.48),(-0.208,-0.455),(-0.327,-0.378),(-0.421,-0.27),(-0.455,-0.208),(-0.48,-0.141),(-0.5,0),(-0.48,0.141),(-0.455,0.208),(-0.378,0.327),(-0.27,0.421),(-0.208,0.455),(-0.141,0.48),(0,0.5),(0.141,0.48),(0.208,0.455),(0.327,0.378),(0.421,0.27),(0.455,0.208),(0.48,0.141),(0.5,0),(0.48,-0.141),(0.455,-0.208),(0.378,-0.327),(0.27,-0.421),(0.208,-0.455),(0.141,-0.48)],
  [(20,14.75),(19.823,14.823),(19.75,15),(19.823,15.177),(20,15.25),(20.177,15.177),(20.25,15),(20.177,14.823)],
  [(19.904,-0.231),(19.769,-0.096),(19.769,0.096),(19.904,0.231),(20.096,0.231),(20.231,0.096),(20.231,-0.096),(20.096,-0.231)])

lib.write_gds('grayEvenNgon.gds')
